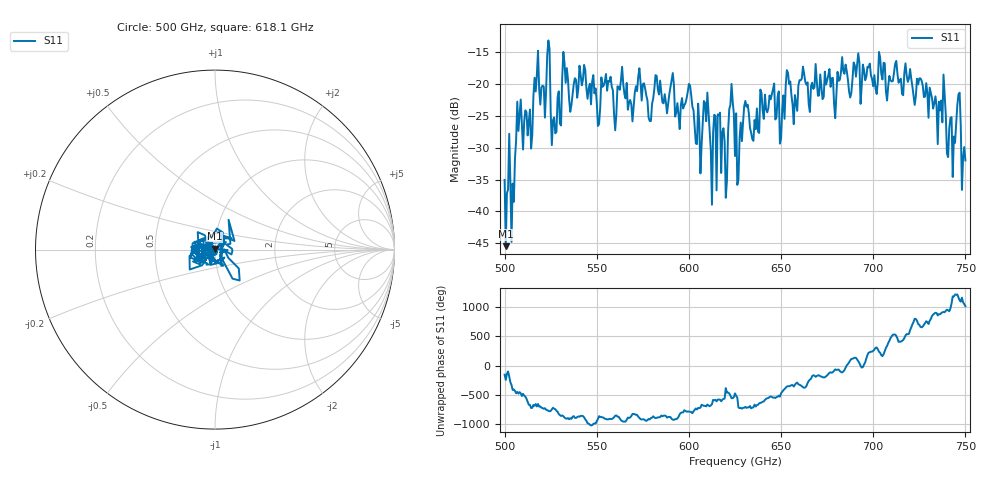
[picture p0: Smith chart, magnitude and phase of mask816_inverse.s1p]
!Created with skrf (http://scikit-rf.org).
# GHz S MA R 50.0
!freq magS11 angS11
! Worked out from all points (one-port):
!   401 points, 500 GHz to 750 GHz, reference 50 ohm
!   lowest |S11| = -45.5 dB at 500.6 GHz (marker M1), VSWR 1.01, Z = 49.8 + j0.476 ohm
!   |S11| at or under -10 dB: start of sweep to end of sweep
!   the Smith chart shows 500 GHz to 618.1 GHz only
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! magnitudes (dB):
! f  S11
! 500 GHz  -35.0
! 500.6 GHz  -45.5
! 504.4 GHz  -35.6
! 507.5 GHz  -27.4
! 513.8 GHz  -24.0
! 516.9 GHz  -21.2
! 523.8 GHz  -13.1
! 526.9 GHz  -25.2
! 531.2 GHz  -18.9
! 550.6 GHz  -26.6
! 562.5 GHz  -20.9
! 578.8 GHz  -25.8
! 590.6 GHz  -19.4
! 593.8 GHz  -23.0
! 600 GHz  -20.0
! 605 GHz  -23.1
! 609.4 GHz  -25.8
! 611.9 GHz  -30.4
! 620 GHz  -37.9
! 623.1 GHz  -20.0
! 625 GHz  -31.3
! 656.2 GHz  -23.3
! 687.5 GHz  -22.1
! 718.8 GHz  -19.7
! 738.1 GHz  -18.5
! 741.9 GHz  -25.3
! 746.2 GHz  -21.6
! 750 GHz  -32.0
